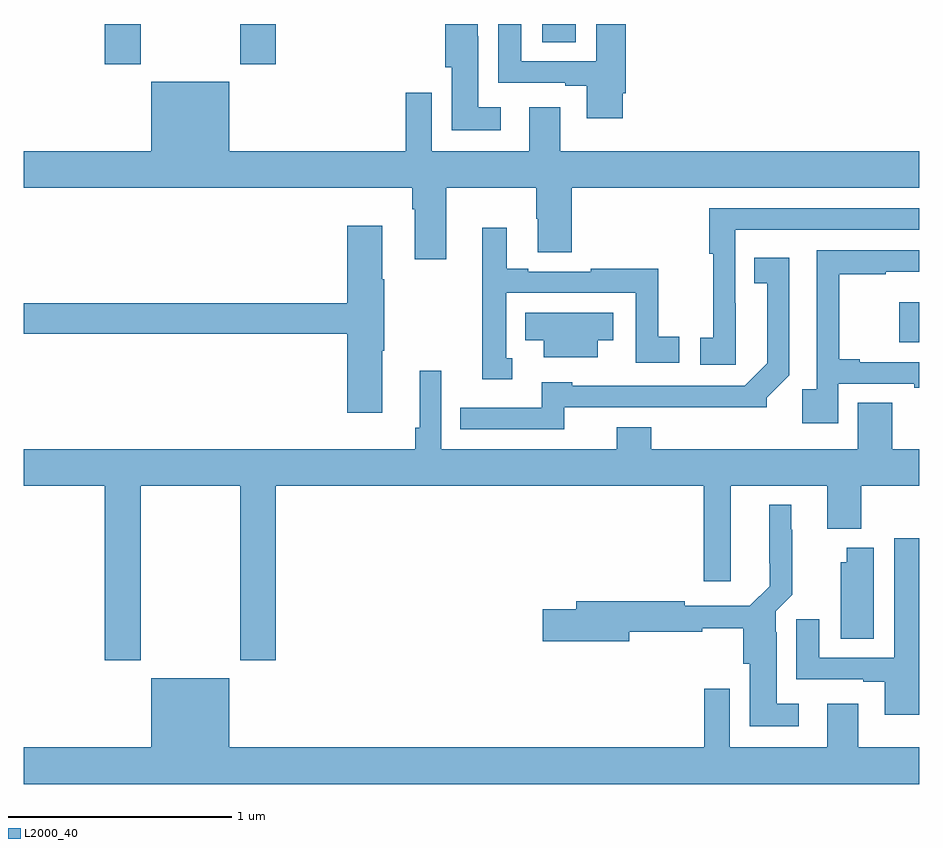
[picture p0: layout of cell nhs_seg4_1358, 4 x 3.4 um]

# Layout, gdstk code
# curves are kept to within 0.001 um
import gdstk
lib = gdstk.Library(unit=1e-6, precision=1e-09)
def R(c, l, rs):  # rectangles x0, y0, x1, y1
    for r in rs: c.add(gdstk.rectangle(r[:2], r[2:], *l))
def P(c, l, *ps):  # polygons
    for p in ps: c.add(gdstk.Polygon(p, *l))
L2000_40 = (2000, 40)

nhs_seg4_1358 = lib.new_cell('nhs_seg4_1358')
R(nhs_seg4_1358, L2000_40, [(184.912,781.479,185,781.657), (181.361,782.721,181.521,782.9), (181.966,782.721,182.126,782.9), (183.317,782.818,183.466,782.9)])
P(nhs_seg4_1358, L2000_40, [(183.676,782.59),(183.689,782.59),(183.689,782.9),(183.557,782.9),(183.557,782.733),(183.223,782.733),(183.223,782.9),(183.119,782.9),(183.119,782.637),(183.419,782.637),(183.419,782.625),(183.515,782.625),(183.515,782.478),(183.676,782.478)],
  [(183.13,782.527),(183.031,782.527),(183.031,782.846),(183.027,782.846),(183.027,782.9),(182.882,782.9),(182.882,782.706),(182.912,782.706),(182.912,782.426),(183.13,782.426)],
  [(182.887,782.168),(183.289,782.168),(183.289,782.03),(183.296,782.03),(183.296,781.879),(183.449,781.879),(183.449,782.168),(185,782.168),(185,782.332),(183.397,782.332),(183.397,782.527),(183.257,782.527),(183.257,782.332),(182.823,782.332),(182.823,782.593),(182.707,782.593),(182.707,782.332),(181.918,782.332),(181.918,782.641),(181.568,782.641),(181.568,782.332),(181,782.332),(181,782.168),(182.735,782.168),(182.735,782.072),(182.747,782.072),(182.747,781.848),(182.887,781.848)],
  [(184.18,781.652),(184.179,781.652),(184.179,781.98),(185,781.98),(185,782.076),(184.063,782.076),(184.063,781.873),(184.081,781.873),(184.081,781.497),(184.023,781.497),(184.023,781.377),(184.18,781.377)],
  [(182.602,781.439),(182.61,781.439),(182.61,781.76),(182.602,781.76),(182.602,781.999),(182.444,781.999),(182.444,781.652),(181,781.652),(181,781.516),(182.444,781.516),(182.444,781.164),(182.602,781.164)],
  [(183.181,781.407),(183.156,781.407),(183.156,781.698),(183.735,781.698),(183.735,781.386),(183.928,781.386),(183.928,781.502),(183.834,781.502),(183.834,781.807),(183.532,781.807),(183.532,781.794),(183.253,781.794),(183.253,781.807),(183.157,781.807),(183.157,781.99),(183.047,781.99),(183.047,781.745),(183.048,781.745),(183.048,781.313),(183.181,781.313)],
  [(184.638,781.293),(184.979,781.293),(184.979,781.274),(185,781.274),(185,781.389),(184.735,781.389),(184.735,781.402),(184.643,781.402),(184.643,781.782),(184.85,781.782),(184.85,781.793),(185,781.793),(185,781.89),(184.542,781.89),(184.542,781.267),(184.477,781.267),(184.477,781.116),(184.638,781.116)],
  [(183.414,781.188),(184.32,781.187),(184.32,781.231),(184.419,781.33),(184.419,781.855),(184.264,781.855),(184.264,781.742),(184.322,781.742),(184.322,781.385),(184.221,781.284),(183.45,781.284),(183.45,781.3),(183.314,781.3),(183.314,781.185),(182.95,781.185),(182.95,781.089),(183.414,781.089)],
  [(183.565,781.487),(183.634,781.487),(183.634,781.609),(183.241,781.609),(183.241,781.487),(183.323,781.487),(183.323,781.412),(183.565,781.412)],
  [(181.521,780.836),(181.966,780.836),(181.966,780.057),(182.126,780.057),(182.126,780.836),(184.037,780.836),(184.037,780.411),(184.159,780.411),(184.159,780.836),(184.589,780.836),(184.589,780.644),(184.742,780.644),(184.742,780.836),(185,780.836),(185,781),(184.88,781),(184.88,781.208),(184.727,781.208),(184.727,781),(183.803,781),(183.803,781.099),(183.65,781.099),(183.65,781),(182.865,781),(182.865,781.351),(182.768,781.351),(182.768,781.096),(182.749,781.096),(182.749,781),(181,781),(181,780.836),(181.361,780.836),(181.361,780.057),(181.521,780.057)],
  [(184.462,779.863),(184.363,779.863),(184.363,780.182),(184.359,780.182),(184.359,780.276),(184.433,780.35),(184.433,780.641),(184.429,780.641),(184.429,780.751),(184.331,780.751),(184.332,780.388),(184.244,780.3),(183.953,780.3),(183.953,780.32),(183.467,780.32),(183.467,780.284),(183.318,780.284),(183.318,780.142),(183.706,780.142),(183.706,780.184),(184.03,780.184),(184.03,780.199),(184.214,780.199),(184.214,780.042),(184.244,780.042),(184.244,779.762),(184.462,779.762)],
  [(185,780.601),(184.889,780.601),(184.889,780.069),(184.555,780.069),(184.555,780.241),(184.451,780.241),(184.451,779.973),(184.751,779.973),(184.751,779.961),(184.847,779.961),(184.847,779.814),(185,779.814)],
  [(184.798,780.559),(184.676,780.559),(184.676,780.495),(184.649,780.495),(184.649,780.154),(184.798,780.154)],
  [(185,779.668),(184.729,779.668),(184.729,779.863),(184.589,779.863),(184.589,779.668),(184.155,779.668),(184.155,779.929),(184.039,779.929),(184.039,779.668),(181.918,779.668),(181.918,779.977),(181.568,779.977),(181.568,779.668),(181,779.668),(181,779.504),(185,779.504)])

lib.write_gds('nhs_seg4_1358.gds')
